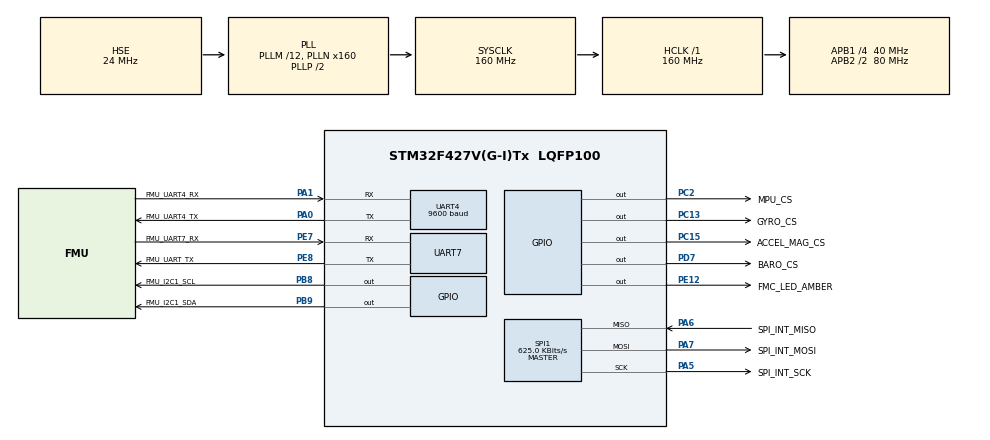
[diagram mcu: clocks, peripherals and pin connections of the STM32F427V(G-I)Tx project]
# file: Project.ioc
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Dma.Request0=UART4_RX
Dma.UART4_RX.0.Direction=DMA_PERIPH_TO_MEMORY
Dma.UART4_RX.0.FIFOMode=DMA_FIFOMODE_DISABLE
Dma.UART4_RX.0.Instance=DMA1_Stream2
Dma.UART4_RX.0.MemDataAlignment=DMA_MDATAALIGN_BYTE
Dma.UART4_RX.0.MemInc=DMA_MINC_ENABLE
Dma.UART4_RX.0.Mode=DMA_CIRCULAR
Dma.UART4_RX.0.PeriphDataAlignment=DMA_PDATAALIGN_BYTE
Dma.UART4_RX.0.PeriphInc=DMA_PINC_DISABLE
Dma.UART4_RX.0.Priority=DMA_PRIORITY_MEDIUM
Mcu.Family=STM32F4
Mcu.Name=STM32F427V(G-I)Tx
Mcu.Package=LQFP100
NVIC.DMA1_Stream2_IRQn=true\:0\:0\:false\:true\:true\:2\:false
NVIC.PriorityGroup=NVIC_PRIORITYGROUP_2
NVIC.TIM6_DAC_IRQn=true\:2\:2\:true\:true\:true\:3\:true
NVIC.UART4_IRQn=true\:2\:1\:true\:true\:true\:1\:true
PA0/WKUP.GPIO_Label=FMU_UART4_TX
PA0/WKUP.Mode=Asynchronous
PA0/WKUP.Signal=UART4_TX
PA1.GPIO_Label=FMU_UART4_RX
PA1.Mode=Asynchronous
PA1.Signal=UART4_RX
PA13.Mode=Trace_Asynchronous_SW
PA13.Signal=SYS_JTMS-SWDIO
PA14.Mode=Trace_Asynchronous_SW
PA14.Signal=SYS_JTCK-SWCLK
PA5.GPIO_Label=SPI_INT_SCK
PA5.Mode=Full_Duplex_Master
PA5.Signal=SPI1_SCK
PA6.GPIO_Label=SPI_INT_MISO
PA6.Mode=Full_Duplex_Master
PA6.Signal=SPI1_MISO
PA7.GPIO_Label=SPI_INT_MOSI
PA7.Mode=Full_Duplex_Master
PA7.Signal=SPI1_MOSI
PB3.Mode=Trace_Asynchronous_SW
PB3.Signal=SYS_JTDO-SWO
PB8.GPIO_Label=FMU_I2C1_SCL
PB8.PinState=GPIO_PIN_SET
PB8.Signal=GPIO_Output
PB9.GPIO_Label=FMU_I2C1_SDA
PB9.PinState=GPIO_PIN_SET
PB9.Signal=GPIO_Output
PC13.GPIO_Label=GYRO_CS
PC13.PinState=GPIO_PIN_SET
PC13.Signal=GPIO_Output
PC15/OSC32_OUT.GPIO_Label=ACCEL_MAG_CS
PC15/OSC32_OUT.PinState=GPIO_PIN_SET
PC15/OSC32_OUT.Signal=GPIO_Output
PC2.GPIO_Label=MPU_CS
PC2.PinState=GPIO_PIN_SET
PC2.Signal=GPIO_Output
PD7.GPIO_Label=BARO_CS
PD7.PinState=GPIO_PIN_SET
PD7.Signal=GPIO_Output
PE12.GPIO_Label=FMC_LED_AMBER
PE12.PinState=GPIO_PIN_SET
PE12.Signal=GPIO_Output
PE7.GPIO_Label=FMU_UART7_RX
PE7.Mode=Asynchronous
PE7.Signal=UART7_RX
PE8.GPIO_Label=FMU_UART_TX
PE8.Mode=Asynchronous
PE8.Signal=UART7_TX
PH0/OSC_IN.Mode=HSE-External-Oscillator
PH0/OSC_IN.Signal=RCC_OSC_IN
PH1/OSC_OUT.Mode=HSE-External-Oscillator
PH1/OSC_OUT.Signal=RCC_OSC_OUT
ProjectManager.HeapSize=0x200
ProjectManager.StackSize=0x400
ProjectManager.TargetToolchain=MDK-ARM V5
RCC.48MHZClocksFreq_Value=80000000
RCC.AHBFreq_Value=160000000
RCC.APB1CLKDivider=RCC_HCLK_DIV4
RCC.APB1Freq_Value=40000000
RCC.APB1TimFreq_Value=80000000
RCC.APB2CLKDivider=RCC_HCLK_DIV2
RCC.APB2Freq_Value=80000000
RCC.APB2TimFreq_Value=160000000
RCC.CortexFreq_Value=160000000
RCC.HCLKFreq_Value=160000000
RCC.HSE_VALUE=24000000
RCC.HSI_VALUE=16000000
RCC.LSE_VALUE=32768
RCC.PLLM=12
RCC.PLLN=160
RCC.PLLSourceVirtual=RCC_PLLSOURCE_HSE
RCC.SYSCLKFreq_VALUE=160000000
RCC.SYSCLKSource=RCC_SYSCLKSOURCE_PLLCLK
RCC.VCOOutputFreq_Value=320000000
SPI1.BaudRatePrescaler=SPI_BAUDRATEPRESCALER_128
SPI1.CLKPhase=SPI_PHASE_2EDGE
SPI1.CLKPolarity=SPI_POLARITY_HIGH
SPI1.CalculateBaudRate=625.0 KBits/s
SPI1.Direction=SPI_DIRECTION_2LINES
SPI1.Mode=SPI_MODE_MASTER
SPI1.VirtualType=VM_MASTER
TIM6.Period=1999
TIM6.Prescaler=79
UART4.BaudRate=9600
UART4.VirtualMode=Asynchronous
UART7.VirtualMode=Asynchronous
VP_TIM6_VS_ClockSourceINT.Mode=Enable_Timer
board=Project

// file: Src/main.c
/**
  ******************************************************************************
  * File Name          : main.c
  * Description        : Main program body
  ******************************************************************************
  ** This notice applies to any and all portions of this file
  * that are not between comment pairs USER CODE BEGIN and
  * USER CODE END. Other portions of this file, whether
  * inserted by the user or by software development tools
  * are owned by their respective copyright owners.
  *
  * COPYRIGHT(c) 2018 STMicroelectronics
  *
  * Redistribution and use in source and binary forms, with or without modification,
  * are permitted provided that the following conditions are met:
  *   1. Redistributions of source code must retain the above copyright notice,
  *      this list of conditions and the following disclaimer.
  *   2. Redistributions in binary form must reproduce the above copyright notice,
  *      this list of conditions and the following disclaimer in the documentation
  *      and/or other materials provided with the distribution.
  *   3. Neither the name of STMicroelectronics nor the names of its contributors
  *      may be used to endorse or promote products derived from this software
  *      without specific prior written permission.
  *
  * THIS SOFTWARE IS PROVIDED BY THE COPYRIGHT HOLDERS AND CONTRIBUTORS "AS IS"
  * AND ANY EXPRESS OR IMPLIED WARRANTIES, INCLUDING, BUT NOT LIMITED TO, THE
  * IMPLIED WARRANTIES OF MERCHANTABILITY AND FITNESS FOR A PARTICULAR PURPOSE ARE
  * DISCLAIMED. IN NO EVENT SHALL THE COPYRIGHT HOLDER OR CONTRIBUTORS BE LIABLE
  * FOR ANY DIRECT, INDIRECT, INCIDENTAL, SPECIAL, EXEMPLARY, OR CONSEQUENTIAL
  * DAMAGES (INCLUDING, BUT NOT LIMITED TO, PROCUREMENT OF SUBSTITUTE GOODS OR
  * SERVICES; LOSS OF USE, DATA, OR PROFITS; OR BUSINESS INTERRUPTION) HOWEVER
  * CAUSED AND ON ANY THEORY OF LIABILITY, WHETHER IN CONTRACT, STRICT LIABILITY,
  * OR TORT (INCLUDING NEGLIGENCE OR OTHERWISE) ARISING IN ANY WAY OUT OF THE USE
  * OF THIS SOFTWARE, EVEN IF ADVISED OF THE POSSIBILITY OF SUCH DAMAGE.
  *
  ******************************************************************************
  */

#include "main.h"
#include "stm32f4xx_hal.h"
#include "dma.h"
#include "spi.h"
#include "tim.h"
#include "usart.h"
#include "gpio.h"

/* USER CODE BEGIN Includes */
#include "md_include.h"
/* USER CODE END Includes */

/* USER CODE BEGIN PV */
/* Private variables ---------------------------------------------------------*/
__IO ITStatus Timer6UpdateReady = RESET;
/* USER CODE END PV */

void SystemClock_Config(void);
static void MX_NVIC_Init(void);

/* USER CODE BEGIN PFP */
/* Private function prototypes -----------------------------------------------*/

/* USER CODE END PFP */

/* USER CODE BEGIN 0 */

#ifdef __GNUC__
  /* With GCC/RAISONANCE, small printf (option LD Linker->Libraries->Small printf
     set to 'Yes') calls __io_putchar() */
  #define PUTCHAR_PROTOTYPE int __io_putchar(int ch)
#else
  #define PUTCHAR_PROTOTYPE int fputc(int ch, FILE *f)
#endif /* __GNUC__ */
/* USER CODE END 0 */

int main(void)
{

  /* MCU Configuration----------------------------------------------------------*/

  /* Reset of all peripherals, Initializes the Flash interface and the Systick. */
  HAL_Init();

  /* Configure the system clock */
  SystemClock_Config();

  /* Initialize all configured peripherals */
  MX_GPIO_Init();
  MX_DMA_Init();
  MX_UART7_Init();
  MX_SPI1_Init();
  MX_TIM6_Init();
  MX_UART4_Init();

  /* Initialize interrupts */
  MX_NVIC_Init();

  /* USER CODE BEGIN 2 */
	HAL_Delay(2000);
	GPS_Init();
	MPU6000_Init();
	Baro_Init();
	HMC5883_Init();
	HAL_TIM_Base_Start_IT(&htim6);
  HAL_Delay(100);
  /* USER CODE END 2 */

  /* Infinite loop */
  /* USER CODE BEGIN WHILE */
  while (1)
  {
		//500HZ执行一次
		if(Timer6UpdateReady==SET)
		{
			Timer6UpdateReady=RESET;
			Loop_Read_MPU6000();
			Loop_Read_Bar();
			Loop_Read_Mag();
		}

		Loop_GPS_Parse();
			//Loop_GPS_Parse();
		//HMC5886_Test();
  /* USER CODE END WHILE */

  /* USER CODE BEGIN 3 */
  //MPU6000_Test();
  }
  /* USER CODE END 3 */

}

/** System Clock Configuration
*/
void SystemClock_Config(void)
{

  RCC_OscInitTypeDef RCC_OscInitStruct;
  RCC_ClkInitTypeDef RCC_ClkInitStruct;

    /**Configure the main internal regulator output voltage
    */
  __HAL_RCC_PWR_CLK_ENABLE();

  __HAL_PWR_VOLTAGESCALING_CONFIG(PWR_REGULATOR_VOLTAGE_SCALE1);

    /**Initializes the CPU, AHB and APB busses clocks
    */
  RCC_OscInitStruct.OscillatorType = RCC_OSCILLATORTYPE_HSE;
  RCC_OscInitStruct.HSEState = RCC_HSE_ON;
  RCC_OscInitStruct.PLL.PLLState = RCC_PLL_ON;
  RCC_OscInitStruct.PLL.PLLSource = RCC_PLLSOURCE_HSE;
  RCC_OscInitStruct.PLL.PLLM = 12;
  RCC_OscInitStruct.PLL.PLLN = 160;
  RCC_OscInitStruct.PLL.PLLP = RCC_PLLP_DIV2;
  RCC_OscInitStruct.PLL.PLLQ = 4;
  if (HAL_RCC_OscConfig(&RCC_OscInitStruct) != HAL_OK)
  {
    _Error_Handler(__FILE__, __LINE__);
  }

    /**Initializes the CPU, AHB and APB busses clocks
    */
  RCC_ClkInitStruct.ClockType = RCC_CLOCKTYPE_HCLK|RCC_CLOCKTYPE_SYSCLK
                              |RCC_CLOCKTYPE_PCLK1|RCC_CLOCKTYPE_PCLK2;
  RCC_ClkInitStruct.SYSCLKSource = RCC_SYSCLKSOURCE_PLLCLK;
  RCC_ClkInitStruct.AHBCLKDivider = RCC_SYSCLK_DIV1;
  RCC_ClkInitStruct.APB1CLKDivider = RCC_HCLK_DIV4;
  RCC_ClkInitStruct.APB2CLKDivider = RCC_HCLK_DIV2;

  if (HAL_RCC_ClockConfig(&RCC_ClkInitStruct, FLASH_LATENCY_5) != HAL_OK)
  {
    _Error_Handler(__FILE__, __LINE__);
  }

    /**Configure the Systick interrupt time
    */
  HAL_SYSTICK_Config(HAL_RCC_GetHCLKFreq()/1000);

    /**Configure the Systick
    */
  HAL_SYSTICK_CLKSourceConfig(SYSTICK_CLKSOURCE_HCLK);

  /* SysTick_IRQn interrupt configuration */
  HAL_NVIC_SetPriority(SysTick_IRQn, 0, 0);
}

/** NVIC Configuration
*/
static void MX_NVIC_Init(void)
{
  /* UART4_IRQn interrupt configuration */
  HAL_NVIC_SetPriority(UART4_IRQn, 2, 1);
  HAL_NVIC_EnableIRQ(UART4_IRQn);
  /* DMA1_Stream2_IRQn interrupt configuration */
  HAL_NVIC_SetPriority(DMA1_Stream2_IRQn, 0, 0);
  HAL_NVIC_EnableIRQ(DMA1_Stream2_IRQn);
  /* TIM6_DAC_IRQn interrupt configuration */
  HAL_NVIC_SetPriority(TIM6_DAC_IRQn, 2, 2);
  HAL_NVIC_EnableIRQ(TIM6_DAC_IRQn);
}

/* USER CODE BEGIN 4 */
PUTCHAR_PROTOTYPE
{
  /* Place your implementation of fputc here ??*/
  /* e.g. write a character to the EVAL_COM1 and Loop until the end of transmission */
  HAL_UART_Transmit(&huart7, (uint8_t *)&ch, 1, 0xFFFF);
  return ch;
}

/**
  * @brief  Period elapsed callback in non blocking mode
  * @param  htim: TIM handle
  * @retval None
  */
void HAL_TIM_PeriodElapsedCallback(TIM_HandleTypeDef *htim)
{
	Timer6UpdateReady=SET;
}

void HAL_UART_RxCpltCallback(UART_HandleTypeDef *UartHandle)
{
  /* Set transmission flag: trasfer complete*/
  if(UartHandle->Instance == UART4)
	{
	  GPS_RX_InterruptHandler();
	}
}
/* USER CODE END 4 */

void _Error_Handler(char * file, int line)
{
  while(1)
  {
  }
}

/************************ (C) COPYRIGHT STMicroelectronics *****END OF FILE****/
